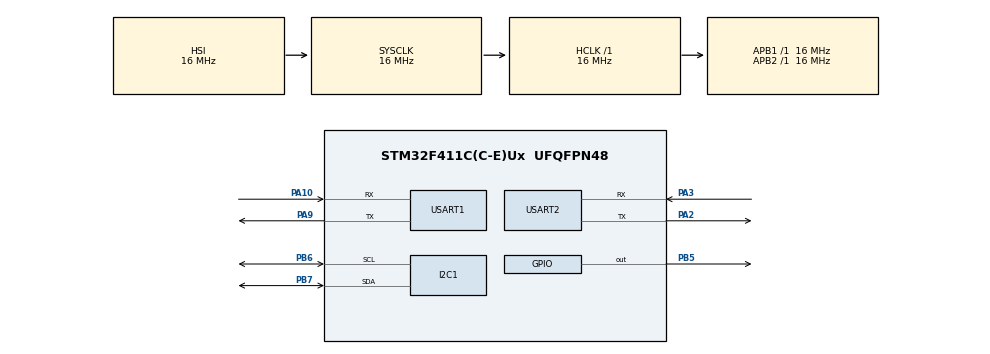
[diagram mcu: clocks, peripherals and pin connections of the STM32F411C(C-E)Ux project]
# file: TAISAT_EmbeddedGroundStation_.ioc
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Mcu.Family=STM32F4
Mcu.Name=STM32F411C(C-E)Ux
Mcu.Package=UFQFPN48
NVIC.PriorityGroup=NVIC_PRIORITYGROUP_4
NVIC.USART1_IRQn=true\:0\:0\:false\:false\:true\:true\:true\:true
NVIC.USART2_IRQn=true\:0\:0\:false\:false\:true\:true\:true\:true
PA10.Mode=Asynchronous
PA10.Signal=USART1_RX
PA2.Mode=Asynchronous
PA2.Signal=USART2_TX
PA3.Mode=Asynchronous
PA3.Signal=USART2_RX
PA9.Mode=Asynchronous
PA9.Signal=USART1_TX
PB5.Signal=GPIO_Output
PB6.Mode=I2C
PB6.Signal=I2C1_SCL
PB7.Mode=I2C
PB7.Signal=I2C1_SDA
ProjectManager.HeapSize=0x200
ProjectManager.StackSize=0x400
ProjectManager.TargetToolchain=STM32CubeIDE
RCC.AHBFreq_Value=16000000
RCC.APB1Freq_Value=16000000
RCC.APB2Freq_Value=16000000
RCC.CortexFreq_Value=16000000
RCC.HSE_VALUE=25000000
RCC.HSI_VALUE=16000000
RCC.LSE_VALUE=32768
RCC.SYSCLKFreq_VALUE=16000000
RCC.VCOOutputFreq_Value=192000000
USART1.VirtualMode=VM_ASYNC
USART2.VirtualMode=VM_ASYNC
board=custom

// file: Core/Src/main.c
/* USER CODE BEGIN Header */
/**
  ******************************************************************************
  * @file           : main.c
  * @brief          : Main program body
  ******************************************************************************
  * @attention
  *
  * 	-> hi2c1  ==> BMP280 pressure & temparature sensor
  * 	-> huart1 ==> LORA wireless communication module
  * 	-> huart2 ==> USB-TTL for comunicating with Ground Station PC
  *
  *
  ******************************************************************************
  */
/* USER CODE END Header */
#include "main.h"

/* USER CODE BEGIN Includes */
#include "SubSys_Sensor_TPGVH_Driver.h"						/*! IOT data comes from this library*/
#include "SubSys_WirelessCommunication_Setting_Driver.h"	/*! Maybe we can set our lora configuration by stm32 MCU*/
#include "SubSys_WirelessCommunication_Telemetry_Driver.h"	/*! This library provides Wireless communication between EmbeddedGroundStation(EmbeddedGS) and Payload of Satellite */
#include "SubSys_USART_ReceiveIT_CallBacks_Driver.h"		/*! Interrupts events will be managed in this library, EmbeddedGS to PC , Payload to EmbeddedGS*/
/* USER CODE END Includes */

/* USER CODE BEGIN PD */
	/**!
	 * Pressure Temperature Sensor (MS5611) Definitions
	 */
	#define MS5611_I2C_ADDRESS_H 0xEE		/*! CSB pin is HIGH */
	#define MS5611_I2C_ADDRESS_L 0xEC 		/*! CSB pin is LOW  */
/* USER CODE END PD */

I2C_HandleTypeDef hi2c1;

UART_HandleTypeDef huart1;	/*! EmbeddedGS to/from PC   */
UART_HandleTypeDef huart2;	/*! Wireless Communication  */

/* USER CODE BEGIN PV */
/*
	 ===============================================================================
	                      ##### MULTIPLE VARIABLE #####
	 ===============================================================================
*/

	/**!
	 * SubSys_Sensor_TPGVH_Driver variables
	 */
	MS5611_HandleTypeDef MS5611;	/*! MS5611 object					*/
	float  MS5611_Press=0.0;		/*! Pressure data variable 			*/
	float  MS5611_Temp=0.0;			/*! Temperature data variable 		*/
	float  MS5611_Altitude;			/*! Vertical Altitude data variable */
	float  MS5611_VertSpeed;		/*! Vertical Speed data variable    */
	float  MS5611_VertAcc;			/*! Vertical Acceleration variable  */
	float  MS5611_gForce;			/*! Vertical g force data variable  */
	float  SatCar_Mass;				/*! Total mass of Satellites Carrier module */

	/*! We create 2 object for subsystem wireless communication,
	 * 	one of them is about configuration setting of wirelesscom device
	 * 	other one is about application object
	 */
	SubSys_WirelesscomConfig_HandleTypeDef dev_WirelessComConfig;
	SubSys_WirelessCom_APP_HandleTypeDef dev_WirelessComApp;

	  /*
	  	 ===============================================================================
	  						  ##### SINGLE VARIABLE #####
	  	 ===============================================================================
	  */
	  	/*! CommandPC(GroundStation) send a packet :
	  	 * e.g ==> *G<3R7B+> or *G<????->
	  	 * Let's we explain what are they
	  	 * 			 '*' 			 -> CommandPC(GroundStation) wants a telepacket
	  	 * 			 'G' 			 -> We put 'G' char into the telemetry packet that we will send to the payload
	  	 * 			 '3' 'R' '7' 'B' -> Chars number and letter for Color Filtering
	  	 * 			 -,+ 			 ->	Manuel Deploy command, + manuel deploy active, - manuel deploy deactive
	  	 *
	  	 */
	  	char UsbTTL2EmbeddedGS[9];
	  	char EmbeddedGS2Payload[30];

/* USER CODE END PV */

void SystemClock_Config(void);
static void MX_GPIO_Init(void);
static void MX_I2C1_Init(void);
static void MX_USART2_UART_Init(void);
static void MX_USART1_UART_Init(void);

int main(void)
{

  /* MCU Configuration--------------------------------------------------------*/

  /* Reset of all peripherals, Initializes the Flash interface and the Systick. */
  HAL_Init();

  /* Configure the system clock */
  SystemClock_Config();

  /* Initialize all configured peripherals */
  MX_GPIO_Init();
  MX_I2C1_Init();
  MX_USART2_UART_Init();
  MX_USART1_UART_Init();
  /* USER CODE BEGIN 2 */

  /******>>> SENSOR TPGVH INITIALIZATION BEGIN >>>******/
  	#ifdef SAT_PAYLOAD_SUBSYS_DRIVERS_SENSOR_TPGVH_H
  	MS5611.I2C_ADDRESS = MS5611_I2C_ADDRESS_H;
  	MS5611.i2c = &hi2c1;
  	MS5611.Ref_Alt_Sel = 'm';
  	MS5611_Init(&MS5611);
  	#endif
  /******<<< SENSOR TPGVH INITIALIZATION END <<<******/

    /******>>> WIRELESS COMMUNICATION SETTING & TELEMETRY INITIALIZATION BEGIN >>>******/
  	/**
  	 * @brief : First of all, we upload initial settings into the wireless communication device.
  	 * 		  After that, we determine Target Address high and low byte and Target Channel.
  	 * 		  Some LoRa module has two pin as named M0 and M1. These provides selecting working mode
  	 * 		  For E220400T30 are M0 and M1 pins.
  	 * @note  : If you use dma for receiving and transmiting, fill it parameters that
  	 *		  come after channel info
  	 */
  	 #ifdef SAT_PAYLOAD_SUBSYS_DRIVERS_WIRELESSCOMMUNICATION_SETTING_H__CLOSED
  	 dev_WirelessComConfig.interface.huart = &huart2;
  	 dev_WirelessComConfig.interface.GPIOx = GPIOB;
  	 dev_WirelessComConfig.LORA_PIN_M0= GPIO_PIN_14;
  	 dev_WirelessComConfig.LORA_PIN_M1= GPIO_PIN_13;
  	 dev_WirelessComConfig.Mode_SW = DeepSleep; 		/*! Module goes to sleep, that provides you to configure settings */

  	 SubSys_WirelessCom_Config_Init(&dev_WirelessComConfig);
  	 #endif

  	 #ifdef SAT_PAYLOAD_SUBSYS_DRIVERS_WIRELESSCOMMUNICATION_TELEMETRY_H
  	 /*! Will be filled for your dev that use now*/
  	 dev_WirelessComApp.huartX = &huart2;
  	 dev_WirelessComConfig.Mode_SW = NormalMode; 		/*! UART and wireless channel are open, transparent transmission is on*/
  	 SubSys_WirelessCom_Config_WORK_MODE(&dev_WirelessComConfig);

  	 /*! Will be filled for the Payload of the Satellite(Target) Device */
  	 dev_WirelessComApp.Target_ADDH = 0x14;
  	 dev_WirelessComApp.Target_ADDL = 0x53;
  	 dev_WirelessComApp.Target_Ch   = 0x05;

  	  /*! Interrupt is active for receiving wireless data
  	   * You need to cast variable type from char to uint8_t because of the instruction of Uart Receive function*/
  	  HAL_UART_Receive_IT(dev_WirelessComApp.huartX, (uint8_t *)dev_WirelessComApp.Buffer.Rx, sizeof(dev_WirelessComApp.Buffer.Rx));
  	  #endif
    /******<<< WIRELESS COMMUNICATION SETTING & TELEMETRY INITIALIZATION END <<<******/

	/******>>> USB-TTL INITIALIZATION BEGIN >>>******/

  	 /*! Start receiving from Laptop(GroundStation) to EmbeddedGroundStation(STM32)*/
	 HAL_UART_Receive_IT(&huart1, UsbTTL2EmbeddedGS, sizeof(UsbTTL2EmbeddedGS));

	/******<<< USB-TTL INITIALIZATION END <<<******/

  /* USER CODE END 2 */

  /* Infinite loop */
  /* USER CODE BEGIN WHILE */
  while (1)
  {

	  /*! Read ambiance temperature for IOT mission */
	  MS5611_Read_ActVal(&MS5611);

	  /*! Do it by 1Hz*/
	  HAL_Delay(1000);

    /* USER CODE END WHILE */

  }
}

void SystemClock_Config(void)
{
  RCC_OscInitTypeDef RCC_OscInitStruct = {0};
  RCC_ClkInitTypeDef RCC_ClkInitStruct = {0};

  /** Configure the main internal regulator output voltage
  */
  __HAL_RCC_PWR_CLK_ENABLE();
  __HAL_PWR_VOLTAGESCALING_CONFIG(PWR_REGULATOR_VOLTAGE_SCALE1);

  /** Initializes the RCC Oscillators according to the specified parameters
  * in the RCC_OscInitTypeDef structure.
  */
  RCC_OscInitStruct.OscillatorType = RCC_OSCILLATORTYPE_HSI;
  RCC_OscInitStruct.HSIState = RCC_HSI_ON;
  RCC_OscInitStruct.HSICalibrationValue = RCC_HSICALIBRATION_DEFAULT;
  RCC_OscInitStruct.PLL.PLLState = RCC_PLL_NONE;
  if (HAL_RCC_OscConfig(&RCC_OscInitStruct) != HAL_OK)
  {
    Error_Handler();
  }

  /** Initializes the CPU, AHB and APB buses clocks
  */
  RCC_ClkInitStruct.ClockType = RCC_CLOCKTYPE_HCLK|RCC_CLOCKTYPE_SYSCLK
                              |RCC_CLOCKTYPE_PCLK1|RCC_CLOCKTYPE_PCLK2;
  RCC_ClkInitStruct.SYSCLKSource = RCC_SYSCLKSOURCE_HSI;
  RCC_ClkInitStruct.AHBCLKDivider = RCC_SYSCLK_DIV1;
  RCC_ClkInitStruct.APB1CLKDivider = RCC_HCLK_DIV1;
  RCC_ClkInitStruct.APB2CLKDivider = RCC_HCLK_DIV1;

  if (HAL_RCC_ClockConfig(&RCC_ClkInitStruct, FLASH_LATENCY_0) != HAL_OK)
  {
    Error_Handler();
  }
}

static void MX_I2C1_Init(void)
{

  hi2c1.Instance = I2C1;
  hi2c1.Init.ClockSpeed = 100000;
  hi2c1.Init.DutyCycle = I2C_DUTYCYCLE_2;
  hi2c1.Init.OwnAddress1 = 0;
  hi2c1.Init.AddressingMode = I2C_ADDRESSINGMODE_7BIT;
  hi2c1.Init.DualAddressMode = I2C_DUALADDRESS_DISABLE;
  hi2c1.Init.OwnAddress2 = 0;
  hi2c1.Init.GeneralCallMode = I2C_GENERALCALL_DISABLE;
  hi2c1.Init.NoStretchMode = I2C_NOSTRETCH_DISABLE;
  if (HAL_I2C_Init(&hi2c1) != HAL_OK)
  {
    Error_Handler();
  }

}

static void MX_USART1_UART_Init(void)
{

  huart1.Instance = USART1;
  huart1.Init.BaudRate = 115200;
  huart1.Init.WordLength = UART_WORDLENGTH_8B;
  huart1.Init.StopBits = UART_STOPBITS_1;
  huart1.Init.Parity = UART_PARITY_NONE;
  huart1.Init.Mode = UART_MODE_TX_RX;
  huart1.Init.HwFlowCtl = UART_HWCONTROL_NONE;
  huart1.Init.OverSampling = UART_OVERSAMPLING_16;
  if (HAL_UART_Init(&huart1) != HAL_OK)
  {
    Error_Handler();
  }

}

static void MX_USART2_UART_Init(void)
{

  huart2.Instance = USART2;
  huart2.Init.BaudRate = 115200;
  huart2.Init.WordLength = UART_WORDLENGTH_8B;
  huart2.Init.StopBits = UART_STOPBITS_1;
  huart2.Init.Parity = UART_PARITY_NONE;
  huart2.Init.Mode = UART_MODE_TX_RX;
  huart2.Init.HwFlowCtl = UART_HWCONTROL_NONE;
  huart2.Init.OverSampling = UART_OVERSAMPLING_16;
  if (HAL_UART_Init(&huart2) != HAL_OK)
  {
    Error_Handler();
  }

}

static void MX_GPIO_Init(void)
{
  GPIO_InitTypeDef GPIO_InitStruct = {0};

  /* GPIO Ports Clock Enable */
  __HAL_RCC_GPIOA_CLK_ENABLE();
  __HAL_RCC_GPIOB_CLK_ENABLE();

  /*Configure GPIO pin Output Level */
  HAL_GPIO_WritePin(GPIOB, GPIO_PIN_5, GPIO_PIN_RESET);

  /*Configure GPIO pin : PB5 */
  GPIO_InitStruct.Pin = GPIO_PIN_5;
  GPIO_InitStruct.Mode = GPIO_MODE_OUTPUT_PP;
  GPIO_InitStruct.Pull = GPIO_NOPULL;
  GPIO_InitStruct.Speed = GPIO_SPEED_FREQ_LOW;
  HAL_GPIO_Init(GPIOB, &GPIO_InitStruct);

}

void Error_Handler(void)
{
  __disable_irq();
  while (1)
  {
  }
}
